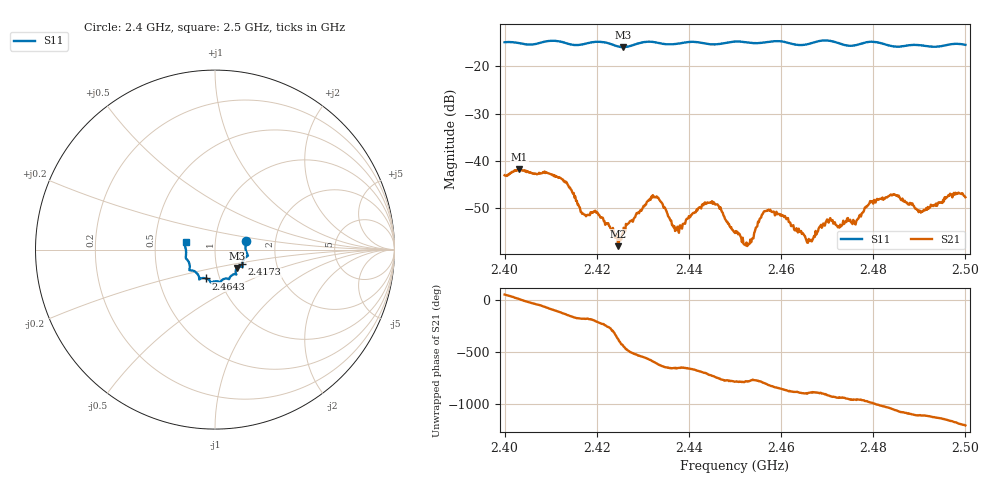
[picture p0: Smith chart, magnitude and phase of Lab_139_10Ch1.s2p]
# Hz S RI R 50
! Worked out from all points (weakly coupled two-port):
!   601 points, 2.4 GHz to 2.5 GHz, reference 50 ohm
!   highest |S21| = -41.82 dB at 2.4032 GHz (marker M1); lowest = -58.1 dB at 2.4247 GHz (marker M2)
!   lowest |S11| = -15.9 dB at 2.4257 GHz (marker M3), VSWR 1.38, Z = 62.5 - j13.1 ohm
!   |S11| at or under -10 dB: start of sweep to end of sweep
!   S12 and S22 are empty: the file has one direction only
!   S11 on the Smith chart (normalised r, x): 2.4 GHz: 1.41, +0.14; 2.4173 GHz: 1.34, -0.23; 2.4643 GHz: 0.86, -0.28; 2.5 GHz: 0.72, +0.06
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2.4e9  0.1733 0.0492  0.00441 0.00545  0 0  0 0
2.403167e9  0.1732 0.0328  0.00805 0.00101  0 0  0 0
2.412333e9  0.1782 -0.0379  -0.00357 -0.00535  0 0  0 0
2.416667e9  0.1528 -0.0748  -0.00285 5.07e-06  0 0  0 0
2.417333e9  0.1521 -0.0822  -0.00267 1.58e-05  0 0  0 0
2.42e9  0.1541 -0.0971  -0.00255 0.00132  0 0  0 0
2.424667e9  0.1307 -0.0962  0.00119 -0.000367  0 0  0 0
2.425667e9  0.1228 -0.1022  0.000418 -0.00162  0 0  0 0
2.431667e9  0.1191 -0.1384  -0.00312 0.00225  0 0  0 0
2.433333e9  0.1127 -0.1369  -0.000859 0.00397  0 0  0 0
2.437333e9  0.0855 -0.1505  0.000855 0.00162  0 0  0 0
2.4445e9  0.0595 -0.1612  0.0036 5.23e-05  0 0  0 0
2.45e9  0.0294 -0.1808  0.000748 -0.00154  0 0  0 0
2.452667e9  0.0194 -0.1782  0.000555 -0.00111  0 0  0 0
2.457167e9  -0.0146 -0.1811  -0.000244 -0.00299  0 0  0 0
2.464333e9  -0.0497 -0.1606  -0.00178 -0.00028  0 0  0 0
2.466667e9  -0.0759 -0.1598  -0.00137 -0.000257  0 0  0 0
2.470167e9  -0.0875 -0.1657  -0.00221 0.000568  0 0  0 0
2.475833e9  -0.1146 -0.1206  -0.00126 0.00178  0 0  0 0
2.483333e9  -0.1406 -0.0899  0.00285 0.00309  0 0  0 0
2.490333e9  -0.1626 -0.0391  0.00249 -0.00131  0 0  0 0
2.5e9  -0.1639 0.042  -0.00226 -0.00342  0 0  0 0
